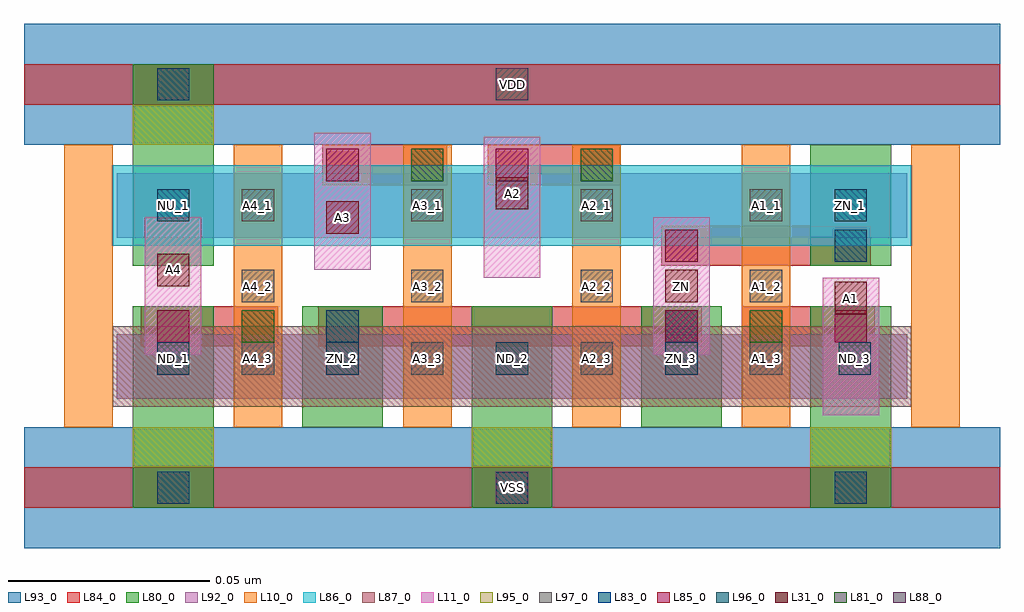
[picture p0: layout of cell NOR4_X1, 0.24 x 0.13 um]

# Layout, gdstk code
import gdstk
lib = gdstk.Library(unit=1e-6, precision=1e-09)
def R(c, l, rs):  # rectangles x0, y0, x1, y1
    for r in rs: c.add(gdstk.rectangle(r[:2], r[2:], *l))
def A(c, l, x, y, w, h, nx, ny, dx, dy):  # array of equal rectangles
    R(c, l, [(x+i*dx, y+j*dy, x+i*dx+w, y+j*dy+h) for i in range(nx) for j in range(ny)])
L10_0 = (10, 0)
L11_0 = (11, 0)
L31_0 = (31, 0)
L80_0 = (80, 0)
L81_0 = (81, 0)
L83_0 = (83, 0)
L84_0 = (84, 0)
L85_0 = (85, 0)
L86_0 = (86, 0)
L87_0 = (87, 0)
L88_0 = (88, 0)
L92_0 = (92, 0)
L93_0 = (93, 0)
L95_0 = (95, 0)
L96_0 = (96, 0)
L97_0 = (97, 0)

nor4_x1 = lib.new_cell('NOR4_X1')
A(nor4_x1, L10_0, -0.027, 0.015, 0.012, 0.07, 6, 1, 0.042, 0)
R(nor4_x1, L11_0, [(0.161,0.018,0.175,0.052), (-0.007,0.033,0.007,0.067), (0.119,0.033,0.133,0.067), (0.119,0.033,0.133,0.067), (0.077,0.052,0.091,0.087), (0.035,0.054,0.049,0.088)])
R(nor4_x1, L31_0, [(0.164,0.043,0.172,0.051), (0.122,0.046,0.13,0.054), (-0.004,0.05,0.004,0.058), (0.038,0.063,0.046,0.071), (0.08,0.069,0.088,0.077)])
A(nor4_x1, L80_0, -0.01, -0.005, 0.02, 0.03, 3, 1, 0.084, 0)
A(nor4_x1, L80_0, -0.01, 0.015, 0.02, 0.03, 5, 1, 0.042, 0)
R(nor4_x1, L80_0, [(-0.01,0.055,0.01,0.085), (0.158,0.055,0.178,0.085), (-0.01,0.075,0.01,0.105)])
R(nor4_x1, L81_0, [(0.017,0.036,0.025,0.044), (0.143,0.036,0.151,0.044), (0.059,0.076,0.067,0.084), (0.101,0.076,0.109,0.084)])
R(nor4_x1, L83_0, [(-0.004,-0.004,0.004,0.004), (0.08,-0.004,0.088,0.004), (0.08,-0.004,0.088,0.004), (0.164,-0.004,0.172,0.004), (0.038,0.036,0.046,0.044), (0.038,0.036,0.046,0.044), (0.122,0.036,0.13,0.044), (0.122,0.036,0.13,0.044), (0.164,0.056,0.172,0.064), (0.164,0.056,0.172,0.064), (-0.004,0.096,0.004,0.104)])
R(nor4_x1, L84_0, [(-0.037,-0.005,0.205,0.005), (-0.008,0.035,0.026,0.045), (0.036,0.035,0.069,0.045), (0.037,0.035,0.068,0.045), (0.037,0.035,0.068,0.045), (0.058,0.035,0.089,0.045), (0.058,0.035,0.089,0.045), (0.079,0.035,0.11,0.045), (0.079,0.035,0.11,0.045), (0.1,0.035,0.131,0.045), (0.1,0.035,0.131,0.045), (0.141,0.035,0.174,0.045), (0.121,0.055,0.152,0.065), (0.121,0.055,0.152,0.065), (0.142,0.055,0.173,0.065), (0.142,0.055,0.173,0.065), (0.037,0.075,0.068,0.085), (0.078,0.075,0.111,0.085), (-0.037,0.095,0.205,0.105)])
R(nor4_x1, L85_0, [(-0.004,0.036,0.004,0.044), (0.122,0.036,0.13,0.044), (0.122,0.036,0.13,0.044), (0.164,0.036,0.172,0.044), (0.122,0.056,0.13,0.064), (0.122,0.056,0.13,0.064), (0.038,0.076,0.046,0.084), (0.08,0.076,0.088,0.084)])
R(nor4_x1, L86_0, [(-0.015,0.06,0.183,0.08)])
R(nor4_x1, L87_0, [(-0.015,0.02,0.183,0.04)])
R(nor4_x1, L88_0, [(0.08,-0.004,0.088,0.004), (0.08,0.096,0.088,0.104)])
R(nor4_x1, L92_0, [(-0.014,0.022,0.182,0.038), (-0.014,0.062,0.182,0.078)])
R(nor4_x1, L93_0, [(-0.037,-0.015,0.205,0.015), (-0.037,0.085,0.205,0.115)])
A(nor4_x1, L95_0, -0.01, 0.005, 0.02, 0.01, 3, 1, 0.084, 0)
R(nor4_x1, L95_0, [(-0.01,0.085,0.01,0.095)])
A(nor4_x1, L96_0, -0.004, 0.028, 0.008, 0.008, 4, 1, 0.042, 0)
R(nor4_x1, L96_0, [(0.165,0.028,0.173,0.036), (-0.004,0.066,0.004,0.074), (0.164,0.066,0.172,0.074)])
A(nor4_x1, L97_0, 0.017, 0.028, 0.008, 0.008, 4, 2, 0.042, 0.018)
A(nor4_x1, L97_0, 0.017, 0.066, 0.008, 0.008, 4, 1, 0.042, 0)
nor4_x1.add(gdstk.Label('A4_1', (0.021,0.07), layer=97, texttype=0))
nor4_x1.add(gdstk.Label('A4_2', (0.021,0.05), layer=97, texttype=0))
nor4_x1.add(gdstk.Label('A4_3', (0.021,0.032), layer=97, texttype=0))
nor4_x1.add(gdstk.Label('A1_1', (0.147,0.07), layer=97, texttype=0))
nor4_x1.add(gdstk.Label('A1_2', (0.147,0.05), layer=97, texttype=0))
nor4_x1.add(gdstk.Label('A1_3', (0.147,0.032), layer=97, texttype=0))
nor4_x1.add(gdstk.Label('A2_1', (0.105,0.07), layer=97, texttype=0))
nor4_x1.add(gdstk.Label('A2_2', (0.105,0.05), layer=97, texttype=0))
nor4_x1.add(gdstk.Label('A2_3', (0.105,0.032), layer=97, texttype=0))
nor4_x1.add(gdstk.Label('A3_2', (0.063,0.05), layer=97, texttype=0))
nor4_x1.add(gdstk.Label('A3_3', (0.063,0.032), layer=97, texttype=0))
nor4_x1.add(gdstk.Label('A3_1', (0.063,0.07), layer=97, texttype=0))
nor4_x1.add(gdstk.Label('ND_3', (0.169,0.032), layer=96, texttype=0))
nor4_x1.add(gdstk.Label('ZN_3', (0.126,0.032), layer=96, texttype=0))
nor4_x1.add(gdstk.Label('ND_2', (0.084,0.032), layer=96, texttype=0))
nor4_x1.add(gdstk.Label('ZN_2', (0.042,0.032), layer=96, texttype=0))
nor4_x1.add(gdstk.Label('ND_1', (0,0.032), layer=96, texttype=0))
nor4_x1.add(gdstk.Label('ZN_1', (0.168,0.07), layer=96, texttype=0))
nor4_x1.add(gdstk.Label('NU_1', (0,0.07), layer=96, texttype=0))
nor4_x1.add(gdstk.Label('VDD', (0.084,0.1), layer=88, texttype=0))
nor4_x1.add(gdstk.Label('VSS', (0.084,0), layer=88, texttype=0))
nor4_x1.add(gdstk.Label('A1', (0.168,0.047), layer=31, texttype=0))
nor4_x1.add(gdstk.Label('A2', (0.084,0.073), layer=31, texttype=0))
nor4_x1.add(gdstk.Label('ZN', (0.126,0.05), layer=31, texttype=0))
nor4_x1.add(gdstk.Label('A3', (0.042,0.067), layer=31, texttype=0))
nor4_x1.add(gdstk.Label('A4', (0,0.054), layer=31, texttype=0))

lib.write_gds('NOR4_X1.gds')
